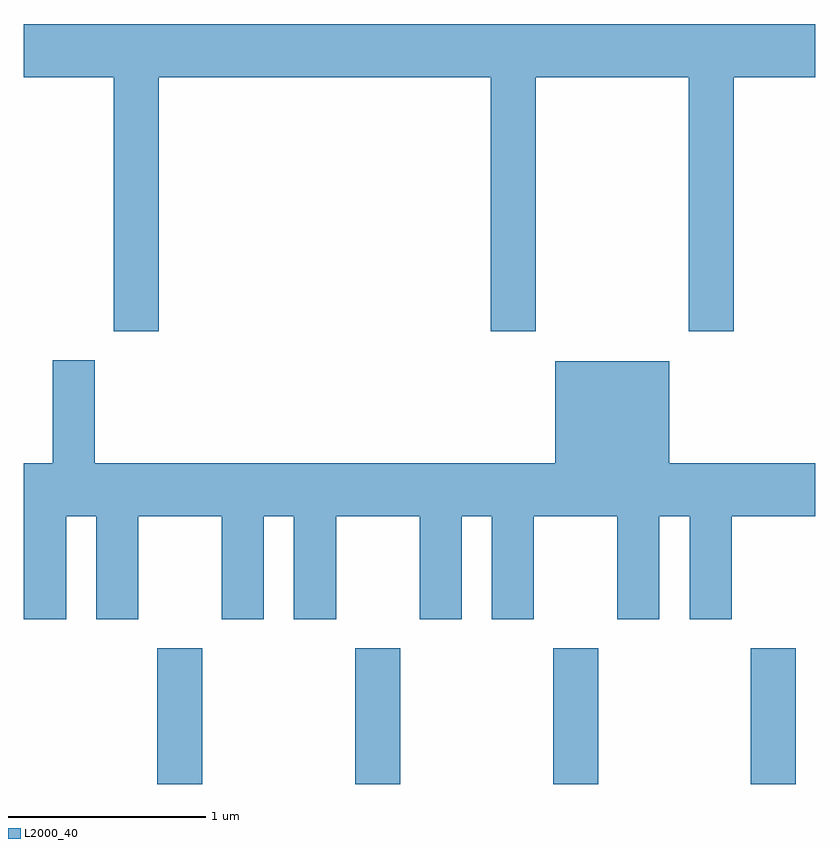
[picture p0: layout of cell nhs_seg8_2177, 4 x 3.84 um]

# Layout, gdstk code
import gdstk
lib = gdstk.Library(unit=1e-6, precision=1e-09)
def R(c, l, rs):  # rectangles x0, y0, x1, y1
    for r in rs: c.add(gdstk.rectangle(r[:2], r[2:], *l))
def A(c, l, x, y, w, h, nx, ny, dx, dy):  # array of equal rectangles
    R(c, l, [(x+i*dx, y+j*dy, x+i*dx+w, y+j*dy+h) for i in range(nx) for j in range(ny)])
def P(c, l, *ps):  # polygons
    for p in ps: c.add(gdstk.Polygon(p, *l))
L2000_40 = (2000, 40)

nhs_seg8_2177 = lib.new_cell('nhs_seg8_2177')
A(nhs_seg8_2177, L2000_40, 250.286, 1888.342, 0.228, 0.687, 4, 1, 1, 0)
P(nhs_seg8_2177, L2000_40, [(250.294,1891.916),(251.971,1891.916),(251.971,1890.631),(252.199,1890.631),(252.199,1891.916),(252.971,1891.916),(252.971,1890.631),(253.199,1890.631),(253.199,1891.916),(253.611,1891.916),(253.611,1892.184),(249.611,1892.184),(249.611,1891.916),(250.066,1891.916),(250.066,1890.631),(250.294,1890.631)],
  [(249.824,1889.696),(249.976,1889.696),(249.976,1889.176),(250.189,1889.176),(250.189,1889.696),(250.611,1889.696),(250.611,1889.176),(250.824,1889.176),(250.824,1889.696),(250.976,1889.696),(250.976,1889.176),(251.189,1889.176),(251.189,1889.696),(251.611,1889.696),(251.611,1889.176),(251.824,1889.176),(251.824,1889.696),(251.976,1889.696),(251.976,1889.176),(252.189,1889.176),(252.189,1889.696),(252.611,1889.696),(252.611,1889.176),(252.824,1889.176),(252.824,1889.696),(252.976,1889.696),(252.976,1889.176),(253.189,1889.176),(253.189,1889.696),(253.611,1889.696),(253.611,1889.964),(252.874,1889.964),(252.874,1890.479),(252.296,1890.479),(252.296,1889.964),(249.969,1889.964),(249.969,1890.484),(249.756,1890.484),(249.756,1889.964),(249.611,1889.964),(249.611,1889.176),(249.824,1889.176)])

lib.write_gds('nhs_seg8_2177.gds')
